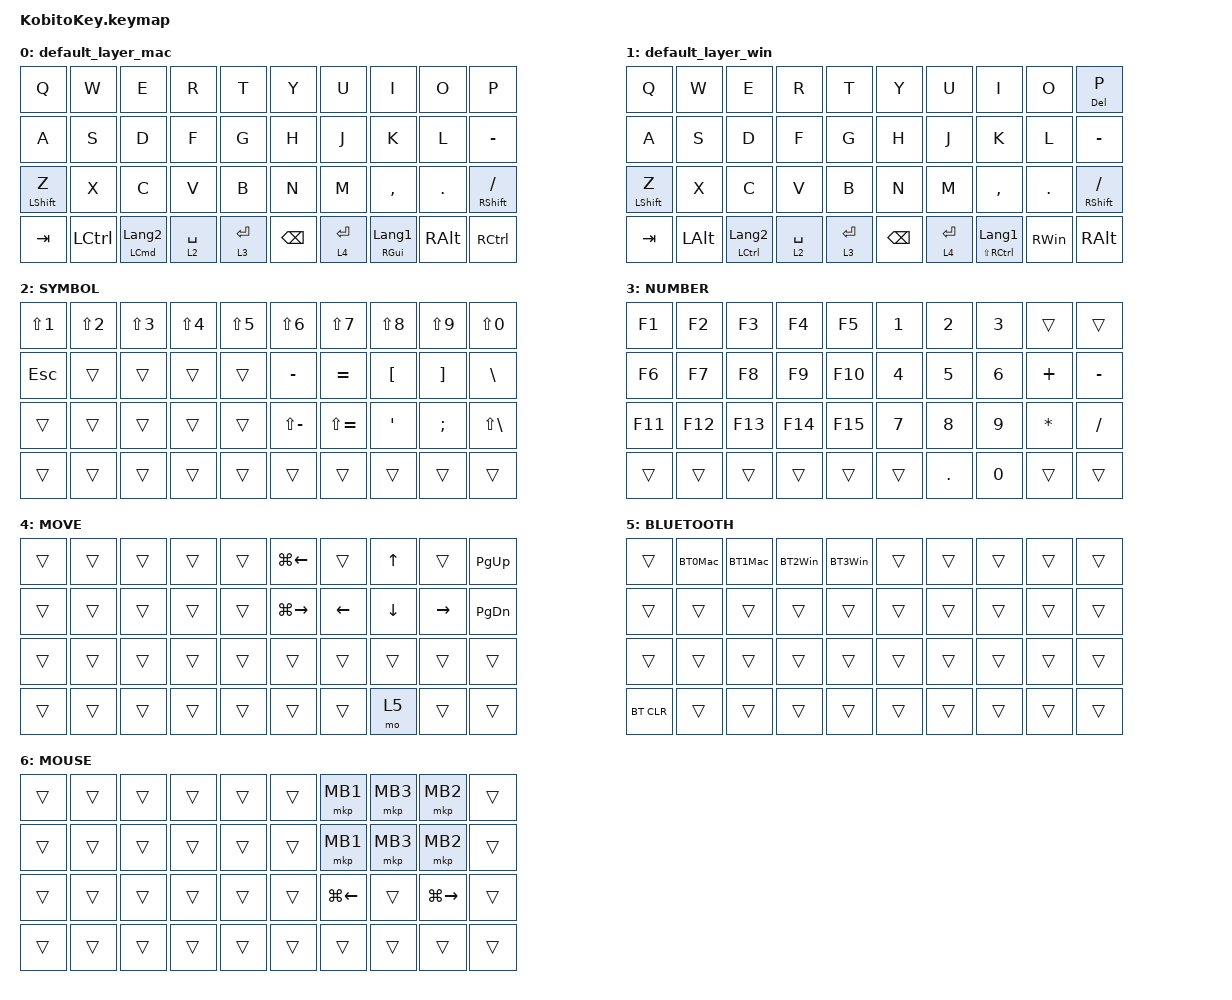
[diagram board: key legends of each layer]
#include <input/processors.dtsi>
#include <behaviors.dtsi>
#include <dt-bindings/zmk/bt.h>
#include <dt-bindings/zmk/keys.h>
#include <dt-bindings/zmk/pointing.h>

/ {
    combos {
        compatible = "zmk,combos";

        combo_eisu {
            timeout-ms = <50>;
            key-positions = <12 13>;
            bindings = <&kp LANG2>;
        };

        combo_kana {
            timeout-ms = <50>;
            key-positions = <16 17>;
            bindings = <&kp LANG1>;
        };

        combo_esc {
            timeout-ms = <50>;
            key-positions = <0 1>;
            bindings = <&kp ESC>;
        };

        combo_tab {
            timeout-ms = <50>;
            key-positions = <10 11>;
            bindings = <&kp TAB>;
        };
    };

    macros {
        to_layer_0: to_layer_0 {
            compatible = "zmk,behavior-macro-one-param";
            #binding-cells = <1>;
            bindings = <&to 0 &macro_param_1to1 &kp MACRO_PLACEHOLDER>;
            label = "TO_LAYER_0";
        };

        BT0Mac: BT0Mac {
            compatible = "zmk,behavior-macro";
            #binding-cells = <0>;
            bindings = <&bt BT_SEL 0 &to 0>;
            label = "BT0MAC";
        };

        BT1Mac: BT1Mac {
            compatible = "zmk,behavior-macro";
            #binding-cells = <0>;
            bindings = <&bt BT_SEL 1 &to 0>;
            label = "BT1MAC";
        };

        BT2Win: BT2Win {
            compatible = "zmk,behavior-macro";
            #binding-cells = <0>;
            bindings = <&bt BT_SEL 2 &to 1>;
            label = "BT2WIN";
        };

        BT3Win: BT3Win {
            compatible = "zmk,behavior-macro";
            #binding-cells = <0>;
            bindings = <&bt BT_SEL 3 &to 1>;
            label = "BT3WIN";
        };
    };

    keymap {
        compatible = "zmk,keymap";

        default_layer_mac {
            label = "default_layer_mac";
            bindings = <
&kp Q             &kp W             &kp E                &kp R        &kp T        &kp Y     &kp U        &kp I                     &kp O          &kp P
&kp A             &kp S             &kp D                &kp F        &kp G        &kp H     &kp J        &kp K                     &kp L          &kp MINUS
&mt LEFT_SHIFT Z  &kp X             &kp C                &kp V        &kp B        &kp N     &kp M        &kp COMMA                 &kp DOT        &mt RIGHT_SHIFT SLASH
&kp TAB           &kp LEFT_CONTROL  &mt LCMD LANGUAGE_2  &lt 2 SPACE  &lt 3 ENTER  &kp BSPC  &lt 4 ENTER  &mt RIGHT_GUI LANGUAGE_1  &kp RIGHT_ALT  &kp RIGHT_CONTROL
            >;
        };

        default_layer_win {
            label = "default_layer_win";
            bindings = <
&kp Q             &kp W         &kp E                        &kp R        &kp T        &kp Y     &kp U        &kp I                             &kp O          &mt DELETE P
&kp A             &kp S         &kp D                        &kp F        &kp G        &kp H     &kp J        &kp K                             &kp L          &kp MINUS
&mt LEFT_SHIFT Z  &kp X         &kp C                        &kp V        &kp B        &kp N     &kp M        &kp COMMA                         &kp DOT        &mt RIGHT_SHIFT SLASH
&kp TAB           &kp LEFT_ALT  &mt LEFT_CONTROL LANGUAGE_2  &lt 2 SPACE  &lt 3 ENTER  &kp BSPC  &lt 4 ENTER  &mt LS(RIGHT_CONTROL) LANGUAGE_1  &kp RIGHT_WIN  &kp RIGHT_ALT
            >;
        };

        SYMBOL {
            label = "SYMBOL";
            bindings = <
&kp LS(NUMBER_1)  &kp LS(NUMBER_2)  &kp LS(NUMBER_3)  &kp LS(NUMBER_4)  &kp LS(NUMBER_5)  &kp LS(NUMBER_6)  &kp LS(NUMBER_7)  &kp LS(NUMBER_8)  &kp LS(NUMBER_9)   &kp LS(NUMBER_0)
&kp ESC           &trans            &trans            &trans            &trans            &kp MINUS         &kp EQUAL         &kp LEFT_BRACKET  &kp RIGHT_BRACKET  &kp BACKSLASH
&trans            &trans            &trans            &trans            &trans            &kp LS(MINUS)     &kp LS(EQUAL)     &kp APOS          &kp SEMI           &kp LS(BACKSLASH)
&trans            &trans            &trans            &trans            &trans            &trans            &trans            &trans            &trans             &trans
            >;
        };

        NUMBER {
            label = "NUMBER";
            bindings = <
&kp F1   &kp F2   &kp F3   &kp F4   &kp F5   &kp N1  &kp N2   &kp N3  &trans    &trans
&kp F6   &kp F7   &kp F8   &kp F9   &kp F10  &kp N4  &kp N5   &kp N6  &kp PLUS  &kp MINUS
&kp F11  &kp F12  &kp F13  &kp F14  &kp F15  &kp N7  &kp N8   &kp N9  &kp STAR  &kp SLASH
&trans   &trans   &trans   &trans   &trans   &trans  &kp DOT  &kp N0  &trans    &trans
            >;
        };

        MOVE {
            label = "MOVE";
            bindings = <
&trans  &trans  &trans  &trans  &trans  &kp LG(LEFT_ARROW)   &trans          &kp UP_ARROW  &trans     &kp PAGE_UP
&trans  &trans  &trans  &trans  &trans  &kp LG(RIGHT_ARROW)  &kp LEFT_ARROW  &kp DOWN      &kp RIGHT  &kp PAGE_DOWN
&trans  &trans  &trans  &trans  &trans  &trans               &trans          &trans        &trans     &trans
&trans  &trans  &trans  &trans  &trans  &trans               &trans          &mo 5         &trans     &trans
            >;
        };

        BLUETOOTH {
            label = "BLUETOOTH";
            bindings = <
&trans      &BT0Mac  &BT1Mac  &BT2Win  &BT3Win  &trans  &trans  &trans  &trans  &trans
&trans      &trans   &trans   &trans   &trans   &trans  &trans  &trans  &trans  &trans
&trans      &trans   &trans   &trans   &trans   &trans  &trans  &trans  &trans  &trans
&bt BT_CLR  &trans   &trans   &trans   &trans   &trans  &trans  &trans  &trans  &trans
            >;
        };

        MOUSE {
            label = "MOUSE";
            bindings = <
&trans  &trans  &trans  &trans  &trans  &trans  &mkp MB1      &mkp MB3  &mkp MB2       &trans
&trans  &trans  &trans  &trans  &trans  &trans  &mkp MB1      &mkp MB3  &mkp MB2       &trans
&trans  &trans  &trans  &trans  &trans  &trans  &kp LG(LEFT)  &trans    &kp LG(RIGHT)  &trans
&trans  &trans  &trans  &trans  &trans  &trans  &trans        &trans    &trans         &trans
            >;
        };
    };
};
